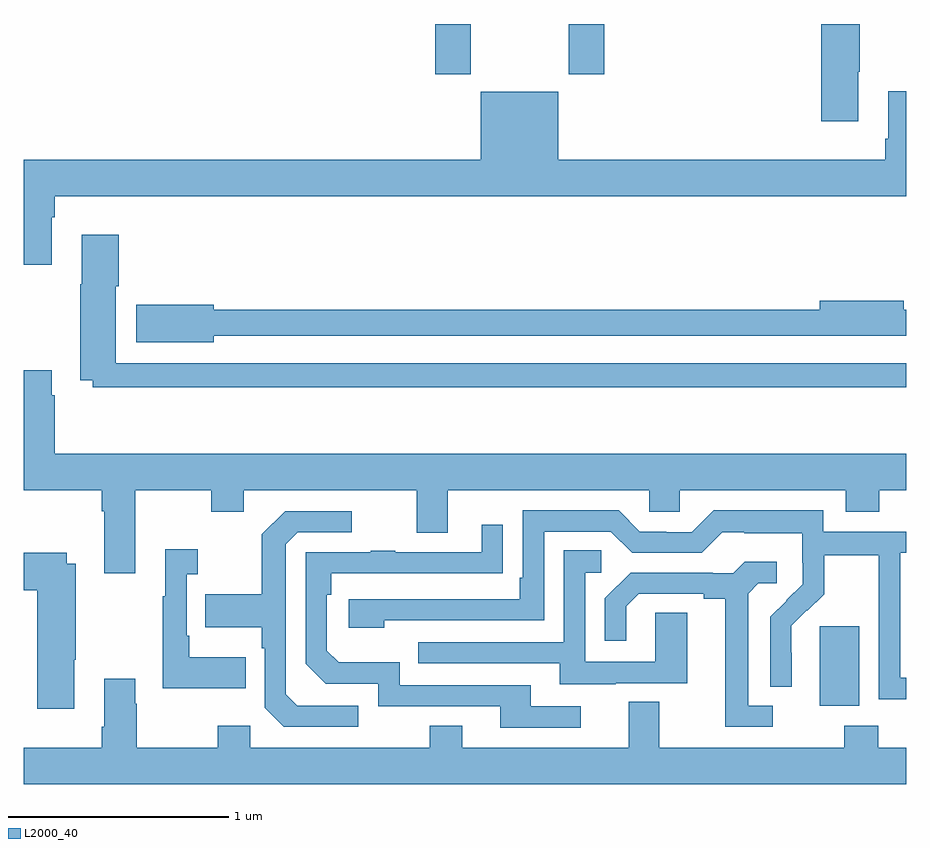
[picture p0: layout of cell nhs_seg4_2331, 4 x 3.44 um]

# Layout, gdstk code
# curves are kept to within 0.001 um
import gdstk
lib = gdstk.Library(unit=1e-6, precision=1e-09)
def R(c, l, rs):  # rectangles x0, y0, x1, y1
    for r in rs: c.add(gdstk.rectangle(r[:2], r[2:], *l))
def P(c, l, *ps):  # polygons
    for p in ps: c.add(gdstk.Polygon(p, *l))
L2000_40 = (2000, 40)

nhs_seg4_2331 = lib.new_cell('nhs_seg4_2331')
R(nhs_seg4_2331, L2000_40, [(234.608,827.81,234.787,828.171), (232.865,830.673,233.025,830.9), (233.47,830.673,233.63,830.9)])
P(nhs_seg4_2331, L2000_40, [(234.781,830.683),(234.789,830.683),(234.789,830.9),(234.614,830.9),(234.614,830.46),(234.781,830.46)],
  [(231.127,830.024),(231.14,830.024),(231.14,830.12),(235,830.12),(235,830.596),(234.917,830.596),(234.917,830.38),(234.905,830.38),(234.905,830.284),(233.422,830.284),(233.422,830.593),(233.072,830.593),(233.072,830.284),(231,830.284),(231,829.809),(231.127,829.809)],
  [(235,829.362),(231.418,829.362),(231.418,829.711),(231.431,829.711),(231.431,829.945),(231.263,829.945),(231.263,829.721),(231.256,829.721),(231.256,829.286),(231.312,829.286),(231.312,829.254),(235,829.254)],
  [(231.862,829.488),(235,829.488),(235,829.604),(234.988,829.604),(234.988,829.647),(234.608,829.647),(234.608,829.604),(231.862,829.604),(231.862,829.628),(231.51,829.628),(231.51,829.457),(231.862,829.457)],
  [(231.505,828.788),(231.85,828.788),(231.85,828.689),(231.997,828.689),(231.997,828.788),(232.781,828.788),(232.781,828.594),(232.921,828.594),(232.921,828.788),(233.835,828.788),(233.835,828.69),(233.973,828.69),(233.973,828.788),(234.725,828.788),(234.725,828.689),(234.878,828.689),(234.878,828.788),(235,828.788),(235,828.952),(231.14,828.952),(231.14,829.217),(231.127,829.217),(231.127,829.33),(231,829.33),(231,828.788),(231.353,828.788),(231.353,828.692),(231.365,828.692),(231.365,828.411),(231.505,828.411)],
  [(235,827.937),(234.972,827.937),(234.972,828.504),(235,828.504),(235,828.6),(234.624,828.6),(234.624,828.697),(234.127,828.697),(234.027,828.597),(233.912,828.597),(233.912,828.6),(233.793,828.6),(233.697,828.696),(233.262,828.696),(233.262,828.391),(233.249,828.391),(233.249,828.294),(232.473,828.294),(232.473,828.164),(232.634,828.164),(232.634,828.198),(233.358,828.198),(233.358,828.6),(233.661,828.6),(233.757,828.504),(234.072,828.504),(234.165,828.597),(234.265,828.597),(234.265,828.593),(234.528,828.593),(234.528,828.459),(234.53,828.459),(234.53,828.362),(234.384,828.214),(234.384,827.896),(234.48,827.896),(234.479,828.173),(234.549,828.243),(234.552,828.24),(234.629,828.317),(234.629,828.492),(234.874,828.492),(234.874,828.268),(234.876,828.268),(234.876,827.839),(235,827.839)],
  [(232.516,827.811),(232.239,827.811),(232.188,827.862),(232.188,828.543),(232.242,828.597),(232.486,828.597),(232.486,828.693),(232.185,828.693),(232.08,828.587),(232.08,828.315),(231.823,828.315),(231.823,828.167),(232.08,828.167),(232.08,828.071),(232.092,828.071),(232.092,827.802),(232.179,827.715),(232.516,827.715)],
  [(233.524,827.808),(233.299,827.808),(233.299,827.904),(232.704,827.904),(232.704,828.007),(232.427,828.007),(232.374,828.06),(232.374,828.314),(232.394,828.314),(232.394,828.411),(233.171,828.412),(233.171,828.631),(233.075,828.631),(233.075,828.507),(232.685,828.507),(232.685,828.512),(232.573,828.512),(232.573,828.507),(232.278,828.507),(232.278,828),(232.368,827.91),(232.608,827.91),(232.608,827.808),(233.159,827.808),(233.159,827.712),(233.524,827.712)],
  [(232.007,828.031),(231.751,828.031),(231.751,828.127),(231.738,828.127),(231.738,828.407),(231.79,828.407),(231.79,828.52),(231.641,828.52),(231.641,828.307),(231.63,828.307),(231.63,827.891),(232.007,827.891)],
  [(233.683,827.913),(234.007,827.913),(234.007,828.233),(233.862,828.233),(233.862,828.009),(233.544,828.009),(233.544,828.414),(233.617,828.414),(233.617,828.515),(233.448,828.515),(233.448,828.099),(232.789,828.099),(232.789,828.003),(233.429,828.003),(233.429,827.909),(233.683,827.909)],
  [(231.229,828.019),(231.237,828.019),(231.237,828.454),(231.196,828.454),(231.196,828.505),(231,828.505),(231,828.335),(231.062,828.335),(231.062,827.796),(231.229,827.796)],
  [(234.394,827.811),(234.283,827.811),(234.283,828.319),(234.33,828.366),(234.412,828.366),(234.412,828.463),(234.268,828.463),(234.216,828.411),(234.122,828.411),(234.122,828.414),(233.75,828.414),(233.634,828.298),(233.634,828.105),(233.731,828.105),(233.731,828.261),(233.788,828.318),(234.083,828.318),(234.083,828.296),(234.179,828.296),(234.179,827.715),(234.394,827.715)],
  [(235,827.62),(234.873,827.62),(234.873,827.719),(234.718,827.719),(234.718,827.62),(233.881,827.62),(233.881,827.828),(233.741,827.828),(233.741,827.62),(232.987,827.62),(232.987,827.719),(232.84,827.719),(232.84,827.62),(232.026,827.62),(232.026,827.719),(231.88,827.719),(231.88,827.62),(231.513,827.62),(231.513,827.819),(231.505,827.819),(231.505,827.932),(231.365,827.932),(231.365,827.716),(231.353,827.716),(231.353,827.62),(231,827.62),(231,827.456),(235,827.456)])

lib.write_gds('nhs_seg4_2331.gds')
